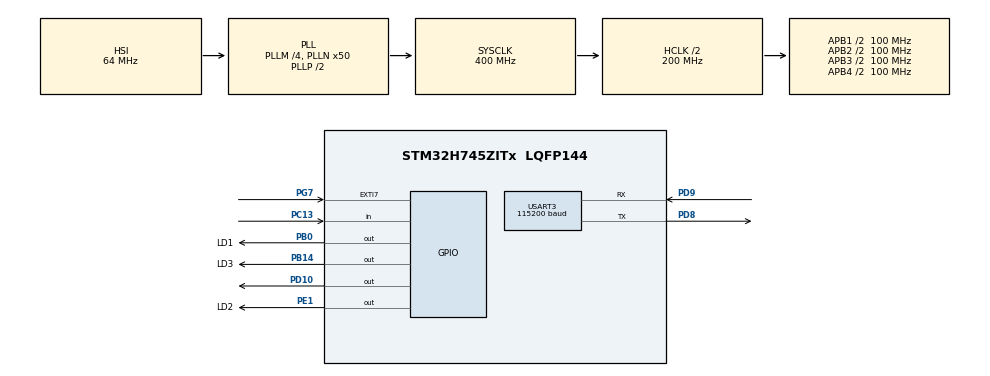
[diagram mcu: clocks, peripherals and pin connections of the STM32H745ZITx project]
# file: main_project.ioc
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PA11.GPIO_Speed=GPIO_SPEED_FREQ_LOW
PA8.GPIO_Mode=GPIO_MODE_AF_PP
PH0-OSC_IN\ (PH0).PinAttribute=CortexM7
PB14.GPIO_Label=LD3
RCC.PLLFRACN=0
PE1.PinState=GPIO_PIN_RESET
PD10.GPIO_PuPd=GPIO_NOPULL
PB13.Signal=ETH_TXD1
PG13.Signal=ETH_TXD0
RCC.SYSCLKSource=RCC_SYSCLKSOURCE_PLLCLK
PE1.GPIO_ModeDefaultOutputPP=GPIO_MODE_OUTPUT_PP
USART3.VirtualMode-Asynchronous=VM_ASYNC
PD8.GPIO_ModeDefaultPP=GPIO_MODE_AF_PP
PG13.GPIO_Mode=GPIO_MODE_AF_PP
PC13.GPIO_Mode=GPIO_MODE_INPUT
USART3.BaudRate=115200
PB13.GPIO_Mode=GPIO_MODE_AF_PP
PC4.GPIO_Mode=GPIO_MODE_AF_PP
PD8.Signal=USART3_TX
PE1.Signal=GPIO_Output
PA1.GPIO_PuPd=GPIO_NOPULL
RCC.DIVM3=4
PC1.GPIO_PuPd=GPIO_NOPULL
RCC.DIVM2=4
RCC.DIVM1=4
PD8.PinAttribute=CortexM7
VP_SYS_M4_VS_Systick.Mode=SysTick
PA8.Signal=USB_OTG_FS_SOF
CortexM7.Pins=PB0,PB14,PE1
PA7.PinAttribute=Free
Mcu.Package=LQFP144
PB14.GPIO_PuPd=GPIO_NOPULL
PC14-OSC32_IN\ (OSC32_IN).Mode=LSE-External-Oscillator
RCC.APB4Freq_Value=100000000
PB0.GPIO_ModeDefaultOutputPP=GPIO_MODE_OUTPUT_PP
PA12.GPIO_PuPd=GPIO_NOPULL
PD9.GPIO_PuPd=GPIO_NOPULL
PH0-OSC_IN\ (PH0).Mode=HSE-External-Clock-Source
PA8.GPIO_Speed=GPIO_SPEED_FREQ_LOW
RCC.SupplySource=PWR_DIRECT_SMPS_SUPPLY
PA2.GPIO_Mode=GPIO_MODE_AF_PP
PA1.PinAttribute=Free
PA1.GPIO_Mode=GPIO_MODE_AF_PP
PC13.Signal=GPIO_Input
USART3.AutoBaudRateEnableParam=UART_ADVFEATURE_AUTOBAUDRATE_DISABLE
PE1.GPIO_PuPd=GPIO_NOPULL
PD9.GPIO_ModeDefaultPP=GPIO_MODE_AF_PP
PA9.PinAttribute=CortexM7
PG13.PinAttribute=Free
PD10.Signal=GPIO_Output
PA12.PinAttribute=CortexM7
PA2.PinAttribute=Free
PB14.GPIO_Speed=GPIO_SPEED_FREQ_LOW
PA9.Signal=USB_OTG_FS_VBUS
RCC.DIVN3=10
RCC.DIVN2=20
RCC.DIVN1=50
PB13.GPIO_Speed=GPIO_SPEED_FREQ_LOW
PD8.Mode=Asynchronous
PB14.Signal=GPIO_Output
RCC.USBCLockSelection=RCC_USBCLKSOURCE_HSI48
PG11.PinAttribute=Free
PE1.GPIO_Label=LD2
PA7.GPIO_Speed=GPIO_SPEED_FREQ_LOW
USART3.WordLength=WORDLENGTH_8B
PB13.GPIO_PuPd=GPIO_NOPULL
PG11.GPIO_Mode=GPIO_MODE_AF_PP
PA11.PinAttribute=CortexM7
PC1.GPIO_Speed=GPIO_SPEED_FREQ_LOW
TIM2.Period=4294967295
PE1.PinAttribute=CortexM7
PA8.PinAttribute=CortexM7
PA11.Signal=USB_OTG_FS_DM
PC5.GPIO_Mode=GPIO_MODE_AF_PP
ProjectManager.HeapSize=0x200
PD9.PinAttribute=CortexM7
PD8.GPIO_Speed=GPIO_SPEED_FREQ_LOW
RCC.USART234578CLockSelection=RCC_USART234578CLKSOURCE_HSI
PC5.GPIO_Speed=GPIO_SPEED_FREQ_LOW
TIM2.AutoReloadPreload=TIM_AUTORELOAD_PRELOAD_DISABLE
PC1.PinAttribute=Free
PB0.Signal=GPIO_Output
PC1.Signal=ETH_MDC
Mcu.Family=STM32H7
PA2.GPIO_PuPd=GPIO_NOPULL
USART3.MSBFirstParam=ADVFEATURE_MSBFIRST_DISABLE
RCC.CortexFreq_Value=400000000
PG7.PinAttribute=Free
RCC.HPRE=RCC_HCLK_DIV2
PH0-OSC_IN\ (PH0).Signal=RCC_OSC_IN
PC15-OSC32_OUT\ (OSC32_OUT).Mode=LSE-External-Oscillator
PA7.GPIO_Mode=GPIO_MODE_AF_PP
PA2.GPIO_Speed=GPIO_SPEED_FREQ_LOW
PD9.GPIO_Speed=GPIO_SPEED_FREQ_LOW
USART3.ClockPrescaler=PRESCALER_DIV1
PB0.GPIO_Label=LD1
PA11.GPIO_PuPd=GPIO_NOPULL
PD8.GPIO_PuPd=GPIO_NOPULL
PD9.Mode=Asynchronous
PG11.Signal=ETH_TX_EN
ProjectManager.StackSize=0x400
PA12.Signal=USB_OTG_FS_DP
PB0.PinState=GPIO_PIN_RESET
PG11.GPIO_PuPd=GPIO_NOPULL
RCC.HCLKFreq_Value=200000000
RCC.FLatency=FLASH_LATENCY_2
PA9.GPIO_Mode=GPIO_MODE_INPUT
PC1.GPIO_Mode=GPIO_MODE_AF_PP
PB0.PinAttribute=CortexM7
RCC.HSE_VALUE=40000000
PG13.GPIO_PuPd=GPIO_NOPULL
PG7.GPIO_ModeDefaultEXTI=GPIO_MODE_IT_RISING
PG11.GPIO_Speed=GPIO_SPEED_FREQ_LOW
PC4.GPIO_Speed=GPIO_SPEED_FREQ_LOW
NVIC2.PriorityGroup=NVIC_PRIORITYGROUP_4
PC13.GPIO_PuPd=GPIO_NOPULL
PG7.GPIO_PuPd=GPIO_NOPULL
PD10.GPIO_Speed=GPIO_SPEED_FREQ_LOW
CortexM7.IPs=FATFS_M7\:I,FREERTOS_M7\:I,IWDG1\:I,RCC\:I,WWDG1\:I,DMA\:I,BDMA\:I,MDMA\:I,NVIC1\:I,SYS\:I,USART3\:I,CORTEX_M7\:I,DEBUG\:I,USB_DEVICE_M7\:I,USB_HOST_M7\:I,PDM2PCM_M7\:I,PWR\:I,RESMGR_UTILITY\:I,VREFBUF\:I,TIM2\:I,OPENAMP_M7\:I
PD10.PinAttribute=Free
RCC.APB3Freq_Value=100000000
RCC.D1PPRE=RCC_APB3_DIV2
PG13.GPIO_Speed=GPIO_SPEED_FREQ_LOW
PC5.Signal=ETH_RXD1
PD10.GPIO_ModeDefaultOutputPP=GPIO_MODE_OUTPUT_PP
PA12.GPIO_Speed=GPIO_SPEED_FREQ_LOW
PH1-OSC_OUT\ (PH1).PinAttribute=CortexM7
PB14.PinAttribute=CortexM7
CORTEX_M7.CPU_ICache=Enabled
PG7.Signal=GPXTI7
PC4.GPIO_PuPd=GPIO_NOPULL
PC4.Signal=ETH_RXD0
NVIC1.PriorityGroup=NVIC_PRIORITYGROUP_4
RCC.D2PPRE2=RCC_APB2_DIV2
RCC.D2PPRE1=RCC_APB1_DIV2
PD9.Signal=USART3_RX
PC5.GPIO_PuPd=GPIO_NOPULL
PA9.GPIO_PuPd=GPIO_NOPULL
PH1-OSC_OUT\ (PH1).Signal=RCC_OSC_OUT
PB13.PinAttribute=Free
PB0.GPIO_Speed=GPIO_SPEED_FREQ_LOW
PB14.PinState=GPIO_PIN_RESET
ProjectManager.TargetToolchain=STM32CubeIDE
PC15-OSC32_OUT\ (OSC32_OUT).Signal=RCC_OSC32_OUT
PC14-OSC32_IN\ (OSC32_IN).PinAttribute=CortexM7
PC4.PinAttribute=Free
RCC.USBFreq_Value=48000000
PB14.GPIO_ModeDefaultOutputPP=GPIO_MODE_OUTPUT_PP
PA1.Signal=ETH_REF_CLK
PA7.GPIO_PuPd=GPIO_NOPULL
NVIC1.USART3_IRQn=true\:0\:0\:false\:false\:true\:true\:true
board=NUCLEO-H745ZI-Q
PA12.GPIO_Mode=GPIO_MODE_AF_PP
RCC.APB2Freq_Value=100000000
VP_TIM2_VS_ClockSourceINT.Mode=Internal
PE1.GPIO_Speed=GPIO_SPEED_FREQ_LOW
PA1.GPIO_Speed=GPIO_SPEED_FREQ_LOW
RCC.ADCFreq_Value=160000000
Mcu.Name=STM32H745ZITx
PA2.Signal=ETH_MDIO
PC13.PinAttribute=Free
RCC.SYSCLKFreq_VALUE=400000000
PC14-OSC32_IN\ (OSC32_IN).Signal=RCC_OSC32_IN
PD10.PinState=GPIO_PIN_RESET
PA8.GPIO_PuPd=GPIO_NOPULL
PC15-OSC32_OUT\ (OSC32_OUT).PinAttribute=CortexM7
PC5.PinAttribute=Free
RCC.D3PPRE=RCC_APB4_DIV2
CORTEX_M7.CPU_DCache=Enabled
PA11.GPIO_Mode=GPIO_MODE_AF_PP
RCC.APB1Freq_Value=100000000
PB0.GPIO_PuPd=GPIO_NOPULL
PA7.Signal=ETH_CRS_DV
CortexM4.IPs=FATFS_M4\:I,FREERTOS_M4\:I,IWDG2\:I,RCC,WWDG2\:I,DMA,BDMA,MDMA,NVIC2\:I,DEBUG,USB_DEVICE_M4\:I,USB_HOST_M4\:I,PDM2PCM_M4\:I,PWR,RESMGR_UTILITY,SYS_M4\:I,CORTEX_M4\:I,VREFBUF,OPENAMP_M4\:I

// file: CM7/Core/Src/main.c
/* USER CODE BEGIN Header */
/**
 ******************************************************************************
 * @file           : main.c
 * @brief          : Main program body
 ******************************************************************************
 * @attention
 *
 * <h2><center>&copy; Copyright (c) 2020 STMicroelectronics.
 * All rights reserved.</center></h2>
 *
 * This software component is licensed by ST under BSD 3-Clause license,
 * the "License"; You may not use this file except in compliance with the
 * License. You may obtain a copy of the License at:
 *                        opensource.org/licenses/BSD-3-Clause
 *
 ******************************************************************************
 */
/* USER CODE END Header */
#include "main.h"
#include "tim.h"
#include "usart.h"
#include "gpio.h"

/* USER CODE BEGIN PD */
#define HSEM_ID_0 (0U) /* HW semaphore 0*/
#define FT_INPUT_VECTOR_SIZE 2048
#define RX_DATA_SIZE FT_INPUT_VECTOR_SIZE*2
#define NUMBER_OF_FEATURES 6
/* USER CODE END PD */

/* USER CODE BEGIN PV */
// Read-only variables go to FLASH memory
const uint32_t frameSize = FT_INPUT_VECTOR_SIZE;
const uint8_t txHead[4] = {0xCA, 0xCA, 0xCA, 0xCA};
const uint8_t txTail[4] = {0xF0, 0xF0, 0xF0, 0xF0};
q15_t layer_1_out_Buf[L1_OUT_DIM] = {0};
q15_t layer_2_out_Buf[L2_OUT_DIM] = {0};
q15_t layer_3_out_Buf[L3_OUT_DIM] = {0};
q15_t layer_4_out_Buf[L4_OUT_DIM] = {0};
q15_t layer_5_out_Buf[L5_OUT_DIM] = {0};
q15_t output_data[L5_OUT_DIM] = {0};
q15_t aq15_layer_1_weights[L1_IN_DIM*L1_OUT_DIM] = {0};
q15_t aq15_layer_1_biases[L1_OUT_DIM] = {0};
q15_t aq15_layer_2_weights[L2_IN_DIM*L2_OUT_DIM] = {0};
q15_t aq15_layer_2_biases[L2_OUT_DIM] = {0};
q15_t aq15_layer_3_weights[L3_IN_DIM*L3_OUT_DIM] = {0};
q15_t aq15_layer_3_biases[L3_OUT_DIM] = {0};
q15_t aq15_layer_4_weights[L4_IN_DIM*L4_OUT_DIM] = {0};
q15_t aq15_layer_4_biases[L4_OUT_DIM] = {0};
q15_t aq15_layer_5_weights[L5_IN_DIM*L5_OUT_DIM] = {0};
q15_t aq15_layer_5_biases[L5_OUT_DIM] = {0};
// Variables go to FLASH memory
union inst
{
	float32_t number[FT_INPUT_VECTOR_SIZE];
	uint8_t bytes[FT_INPUT_VECTOR_SIZE*4];
} instAbs = {0}, instPhase = {0}, instAbsPhase = {0}, instUnwrappedPhase = {0}, instFreq = {0}, instAbsFreq = {0}, instCNAbs = {0}, instAbsCNAbs = {0};
union rxData
{
	float32_t number[RX_DATA_SIZE];
	uint8_t bytes[RX_DATA_SIZE*4];
} rxBuffer = {0};
union rxWeightsAndBiases
{
	int16_t number[WEIGHTS + BIASES];
	uint8_t bytes[(WEIGHTS + BIASES) * 2];
} rxWandB = {0};
union rxStandardizer
{
	float32_t number[NUMBER_OF_FEATURES * 2];
	uint8_t bytes[NUMBER_OF_FEATURES * 2 * 4];
} rxScaler = {0};
union array_of_counter_numbers
{
	uint32_t number[5 + NUMBER_OF_FEATURES + 1];
	uint8_t bytes[4*(5 + NUMBER_OF_FEATURES + 1)];
} counter_array = {0};
union array_of_features
{
	float32_t number[NUMBER_OF_FEATURES];
	uint8_t bytes[NUMBER_OF_FEATURES * 4];
} ft_array = {0}, scaled_ft_array = {0};
union single_float
{
	float32_t number;
	uint8_t bytes[4];
} predicted = {0}, min_range = {0}, max_range = {0};
__IO ITStatus UartReady = RESET;
/* USER CODE END PV */

void SystemClock_Config(void);
/* USER CODE BEGIN PFP */
void clear_leds();
void light_leds();
void blink_red_fast();
void blink_red_slow();
void blink_orange_fast();
void blink_orange_slow();
void blink_green_fast();
void blink_green();
void blink_green_slow();
void transmit_prediction(uint8_t *value, uint8_t *counter);
void transmit_features(uint8_t *value, uint8_t *counter);
void transmit_array(uint8_t *array, uint16_t size, uint8_t *counter);
void transmit_echo_wandb(uint8_t *array, uint16_t size);
void transmit_echo_data(uint8_t *array, uint16_t size);
void preprocess_features(float32_t in[], float32_t out[]);
void quantize_features(float32_t in[], float32_t min_float_range, float32_t max_float_range, q15_t out[]);
/* USER CODE END PFP */

int main(void)
{
	/* USER CODE BEGIN 1 */
	/*****************************************************************************************************/
	q15_t q15_input_vector[NUMBER_OF_FEATURES] = {0};
	uint8_t ft_counter = 0;
	/*****************************************************************************************************/
	/* USER CODE END 1 */

	/* USER CODE BEGIN Boot_Mode_Sequence_0 */
	int32_t timeout;
	/* USER CODE END Boot_Mode_Sequence_0 */

	/* Enable I-Cache---------------------------------------------------------*/
	SCB_EnableICache();

	/* Enable D-Cache---------------------------------------------------------*/
	SCB_EnableDCache();

	/* USER CODE BEGIN Boot_Mode_Sequence_1 */
	/* Wait until CPU2 boots and enters in stop mode or timeout*/
	timeout = 0xFFFF;
	while((__HAL_RCC_GET_FLAG(RCC_FLAG_D2CKRDY) != RESET) && (timeout-- > 0));
	if ( timeout < 0 )
	{
		Error_Handler();
	}
	/* USER CODE END Boot_Mode_Sequence_1 */
	/* MCU Configuration--------------------------------------------------------*/

	/* Reset of all peripherals, Initializes the Flash interface and the Systick. */
	HAL_Init();

	/* Configure the system clock */
	SystemClock_Config();
	/* USER CODE BEGIN Boot_Mode_Sequence_2 */
	/* When system initialization is finished, Cortex-M7 will release Cortex-M4 by means of
HSEM notification */
	/*HW semaphore Clock enable*/
	__HAL_RCC_HSEM_CLK_ENABLE();
	/*Take HSEM */
	HAL_HSEM_FastTake(HSEM_ID_0);
	/*Release HSEM in order to notify the CPU2(CM4)*/
	HAL_HSEM_Release(HSEM_ID_0,0);
	/* wait until CPU2 wakes up from stop mode */
	timeout = 0xFFFF;
	while((__HAL_RCC_GET_FLAG(RCC_FLAG_D2CKRDY) == RESET) && (timeout-- > 0));
	if ( timeout < 0 )
	{
		Error_Handler();
	}
	/* USER CODE END Boot_Mode_Sequence_2 */

	/* Initialize all configured peripherals */
	MX_GPIO_Init();
	MX_USART3_UART_Init();
	MX_TIM2_Init();
	/* USER CODE BEGIN 2 */
	/*****************************************************************************************************/
	// HRTimer enable
	__HAL_TIM_ENABLE(&htim2);
	__HAL_TIM_UIFREMAP_DISABLE(&htim2);
	HAL_TIM_Base_Start(&htim2);
	__HAL_TIM_SET_COUNTER(&htim2, 0x0U);

	// Put UART peripheral in reception process
	if(HAL_UART_Receive_IT(&huart3, &rxWandB.bytes[0], (WEIGHTS + BIASES) * 2) != HAL_OK)
	{
		Error_Handler();
	}
	// Wait for message
	while (UartReady != SET)
	{
		HAL_Delay(500);
		blink_green();
		blink_green();
	}
	UartReady = RESET;
	HAL_GPIO_WritePin(GPIOB, LD1_Pin, GPIO_PIN_SET);
	if(rxWandB.bytes[(WEIGHTS + BIASES) * 2 - 1] != 0){ // Means: received everything
		HAL_GPIO_WritePin(GPIOB, LD3_Pin, GPIO_PIN_SET);
	}
	// Echo
	transmit_echo_wandb(&rxWandB.bytes[0], (WEIGHTS + BIASES) * 2);

	// Copying weights
	arm_copy_q15(&rxWandB.number[0], &aq15_layer_1_weights[0], L1_IN_DIM*L1_OUT_DIM);
	arm_copy_q15(&rxWandB.number[L1_IN_DIM*L1_OUT_DIM], &aq15_layer_2_weights[0], L2_IN_DIM*L2_OUT_DIM);
	arm_copy_q15(&rxWandB.number[L1_IN_DIM*L1_OUT_DIM + L2_IN_DIM*L2_OUT_DIM], &aq15_layer_3_weights[0], L3_IN_DIM*L3_OUT_DIM);
	arm_copy_q15(&rxWandB.number[L1_IN_DIM*L1_OUT_DIM + L2_IN_DIM*L2_OUT_DIM + L3_IN_DIM*L3_OUT_DIM], &aq15_layer_4_weights[0], L4_IN_DIM*L4_OUT_DIM);
	arm_copy_q15(&rxWandB.number[L1_IN_DIM*L1_OUT_DIM + L2_IN_DIM*L2_OUT_DIM + L3_IN_DIM*L3_OUT_DIM + L4_IN_DIM*L4_OUT_DIM], &aq15_layer_5_weights[0], L5_IN_DIM*L5_OUT_DIM);

	// Copying biases
	arm_copy_q15(&rxWandB.number[WEIGHTS], &aq15_layer_1_biases[0], L1_OUT_DIM);
	arm_copy_q15(&rxWandB.number[WEIGHTS + L1_OUT_DIM], &aq15_layer_2_biases[0], L2_OUT_DIM);
	arm_copy_q15(&rxWandB.number[WEIGHTS + L1_OUT_DIM + L2_OUT_DIM], &aq15_layer_3_biases[0], L3_OUT_DIM);
	arm_copy_q15(&rxWandB.number[WEIGHTS + L1_OUT_DIM + L2_OUT_DIM + L3_OUT_DIM], &aq15_layer_4_biases[0], L4_OUT_DIM);
	arm_copy_q15(&rxWandB.number[WEIGHTS + L1_OUT_DIM + L2_OUT_DIM + L3_OUT_DIM + L4_OUT_DIM], &aq15_layer_5_biases[0], L5_OUT_DIM);

	// Put UART peripheral in reception process
	if(HAL_UART_Receive_IT(&huart3, &rxScaler.bytes[0], NUMBER_OF_FEATURES * 2 * 4) != HAL_OK)
	{
		Error_Handler();
	}
	// Wait for message
	while (UartReady != SET)
	{
		HAL_Delay(500);
		blink_green();
		blink_green();
	}
	UartReady = RESET;
	HAL_GPIO_WritePin(GPIOB, LD1_Pin, GPIO_PIN_SET);
	if(rxScaler.bytes[NUMBER_OF_FEATURES * 2 * 4 - 1] != 0){ // Means: received everything
		HAL_GPIO_WritePin(GPIOB, LD3_Pin, GPIO_PIN_SET);
	}
	// Echo
	transmit_echo_data(&rxScaler.bytes[0], NUMBER_OF_FEATURES * 2 * 4);

	/*****************************************************************************************************/
	/* USER CODE END 2 */

	/* Infinite loop */
	/* USER CODE BEGIN WHILE */
	/*****************************************************************************************************/
	while (1)
	{
		// Put UART peripheral in reception process
		if(HAL_UART_Receive_IT(&huart3, &rxBuffer.bytes[0], RX_DATA_SIZE*4) != HAL_OK)
		{
			Error_Handler();
		}
		// Wait for message
		while (UartReady != SET)
		{
			HAL_Delay(500);
			blink_green();
			blink_green();
		}
		UartReady = RESET;
		HAL_Delay(100);
		HAL_GPIO_WritePin(GPIOB, LD1_Pin, GPIO_PIN_SET);
		if(rxBuffer.bytes[8191] != 0){ // Means: received everything
			HAL_GPIO_WritePin(GPIOE, LD2_Pin, GPIO_PIN_SET);
		}

		/*
		// Echo
		transmit_echo_data(&rxBuffer.bytes[0], RX_DATA_SIZE*4);
		*/

		// Instantaneous absolute value
		__HAL_TIM_SET_COUNTER(&htim2, 0x0U);
		complex_inst_absolute(&rxBuffer.number[0], &instAbs.number[0]);
		counter_array.number[0] = __HAL_TIM_GET_COUNTER(&htim2);
		// Instantaneous phase value
		__HAL_TIM_SET_COUNTER(&htim2, 0x0U);
		inst_phase(&rxBuffer.number[0], &instPhase.number[0]);
		counter_array.number[1] = __HAL_TIM_GET_COUNTER(&htim2);
		// Instantaneous unwrapped phase value
		__HAL_TIM_SET_COUNTER(&htim2, 0x0U);
		inst_phase(&rxBuffer.number[0], &instPhase.number[0]);
		unwrap(&instPhase.number[0], &instUnwrappedPhase.number[0]);
		counter_array.number[2] = __HAL_TIM_GET_COUNTER(&htim2);
		// Instantaneous frequency value
		__HAL_TIM_SET_COUNTER(&htim2, 0x0U);
		inst_frequency(&rxBuffer.number[0], &instFreq.number[0]);
		counter_array.number[3] = __HAL_TIM_GET_COUNTER(&htim2);
		// Instantaneous centered normalized absolute value
		__HAL_TIM_SET_COUNTER(&htim2, 0x0U);
		inst_centralized_normalized_absolute(&rxBuffer.number[0], &instCNAbs.number[0]);
		counter_array.number[4] = __HAL_TIM_GET_COUNTER(&htim2);

		/*
		transmit_array(&instAbs.bytes[0], FT_INPUT_VECTOR_SIZE*4, &counter_array.bytes[0]);
		transmit_array(&instPhase.bytes[0], FT_INPUT_VECTOR_SIZE*4, &counter_array.bytes[4]);
		transmit_array(&instUnwrappedPhase.bytes[0], FT_INPUT_VECTOR_SIZE*4, &counter_array.bytes[8]);
		transmit_array(&instFreq.bytes[0], FT_INPUT_VECTOR_SIZE*4, &counter_array.bytes[12]);
		transmit_array(&instCNAbs.bytes[0], FT_INPUT_VECTOR_SIZE*4, &counter_array.bytes[16]);
		*/

		/*****************************************************************************************************/
		ft_counter = 0;
		/*
		// 1 - Gmax
		__HAL_TIM_SET_COUNTER(&htim2, 0x0U);
		gmax(&rxBuffer.number[0], &ft_array.number[ft_counter]);
		counter_array.number[ft_counter + 5] = __HAL_TIM_GET_COUNTER(&htim2);
		ft_counter++;
		*/

		// 2 - Std of the Absolute Instantaneous Phase
		__HAL_TIM_SET_COUNTER(&htim2, 0x0U);
		inst_absolute(&instPhase.number[0], &instAbsPhase.number[0]);
		std_dev(&instAbsPhase.number[0], &ft_array.number[ft_counter]);
		counter_array.number[ft_counter + 5] = __HAL_TIM_GET_COUNTER(&htim2);
		ft_counter++;

		/*
		// 3 - Std of the Direct Instantaneous Phase
		__HAL_TIM_SET_COUNTER(&htim2, 0x0U);
		std_dev(&instPhase.number[0], &ft_array.number[ft_counter]);
		counter_array.number[ft_counter + 5] = __HAL_TIM_GET_COUNTER(&htim2);
		ft_counter++;
		*/

		// 4 - Std of the CN Instantaneous Amplitude
		__HAL_TIM_SET_COUNTER(&htim2, 0x0U);
		inst_absolute(&instCNAbs.number[0], &instAbsCNAbs.number[0]);
		std_dev(&instAbsCNAbs.number[0], &ft_array.number[ft_counter]);
		counter_array.number[ft_counter + 5] = __HAL_TIM_GET_COUNTER(&htim2);
		ft_counter++;

		/*
		// 5 - Std of the Instantaneous Frequency
		__HAL_TIM_SET_COUNTER(&htim2, 0x0U);
		std_dev(&instFreq.number[0], &ft_array.number[ft_counter]);
		counter_array.number[ft_counter + 5] = __HAL_TIM_GET_COUNTER(&htim2);
		ft_counter++;
		*/

		// 6 - Mean Value of the Signal Magnitude
		__HAL_TIM_SET_COUNTER(&htim2, 0x0U);
		mean_of_signal_magnitude(&instAbs.number[0], &ft_array.number[ft_counter]);
		counter_array.number[ft_counter + 5] = __HAL_TIM_GET_COUNTER(&htim2);
		ft_counter++;

		/*
		// 7 - Normalized square root value of sum of amplitude of signal samples
		__HAL_TIM_SET_COUNTER(&htim2, 0x0U);
		normalized_sqrt_of_sum_of_amp(&instAbs.number[0], &ft_array.number[ft_counter]);
		counter_array.number[ft_counter + 5] = __HAL_TIM_GET_COUNTER(&htim2);
		ft_counter++;
		*/

		// 8 - Kurtosis of the CN Amplitude
		__HAL_TIM_SET_COUNTER(&htim2, 0x0U);
		kurtosis(&instCNAbs.number[0], &ft_array.number[ft_counter], frameSize);
		counter_array.number[ft_counter + 5] = __HAL_TIM_GET_COUNTER(&htim2);
		ft_counter++;

		/*
		// 9 - Kurtosis of the CN Frequency
		__HAL_TIM_SET_COUNTER(&htim2, 0x0U);
		kurtosis(&instFreq.number[0], &ft_array.number[ft_counter], frameSize);
		counter_array.number[ft_counter + 5] = __HAL_TIM_GET_COUNTER(&htim2);
		ft_counter++;
		*/

		/*
		// Standard deviation of the absolute centralized normalized absolute amplitude
		__HAL_TIM_SET_COUNTER(&htim2, 0x0U);
		inst_absolute(&instCNAbs.number[0], &instAbsCNAbs.number[0]);
		std_dev(&instAbsCNAbs.number[0], &ft_array.number[ft_counter]);
		counter_array.number[ft_counter + 5] = __HAL_TIM_GET_COUNTER(&htim2);
		ft_counter++;
		// Squared Mean of the Signal Magnitude
		__HAL_TIM_SET_COUNTER(&htim2, 0x0U);
		squared_mean_of_signal_magnitude(&instAbs.number[0], &ft_array.number[ft_counter]);
		counter_array.number[ft_counter + 5] = __HAL_TIM_GET_COUNTER(&htim2);
		ft_counter++;
		// Ratio of I/Q Components
		__HAL_TIM_SET_COUNTER(&htim2, 0x0U);
		ratio_iq(&rxBuffer.number[0], &ft_array.number[ft_counter]);
		counter_array.number[ft_counter + 5] = __HAL_TIM_GET_COUNTER(&htim2);
		ft_counter++;
		*/

		/*
		// 10 - Cumulant 20
		__HAL_TIM_SET_COUNTER(&htim2, 0x0U);
		cumulant_20(&rxBuffer.number[0], &ft_array.number[ft_counter]);
		counter_array.number[ft_counter + 5] = __HAL_TIM_GET_COUNTER(&htim2);
		ft_counter++;

		// 11 - Cumulant 21
		__HAL_TIM_SET_COUNTER(&htim2, 0x0U);
		cumulant_21(&rxBuffer.number[0], &ft_array.number[ft_counter]);
		counter_array.number[ft_counter + 5] = __HAL_TIM_GET_COUNTER(&htim2);
		ft_counter++;
		*/

		// 12 - Cumulant 40
		__HAL_TIM_SET_COUNTER(&htim2, 0x0U);
		cumulant_40(&rxBuffer.number[0], &ft_array.number[ft_counter]);
		counter_array.number[ft_counter + 5] = __HAL_TIM_GET_COUNTER(&htim2);
		ft_counter++;

		/*
		// 13 - Cumulant 41
		__HAL_TIM_SET_COUNTER(&htim2, 0x0U);
		cumulant_41(&rxBuffer.number[0], &ft_array.number[ft_counter]);
		counter_array.number[ft_counter + 5] = __HAL_TIM_GET_COUNTER(&htim2);
		ft_counter++;
		*/

		// 14 - Cumulant 42
		__HAL_TIM_SET_COUNTER(&htim2, 0x0U);
		cumulant_42(&rxBuffer.number[0], &ft_array.number[ft_counter]);
		counter_array.number[ft_counter + 5] = __HAL_TIM_GET_COUNTER(&htim2);
		ft_counter++;

		/*
		// 15 - Cumulant 60
		__HAL_TIM_SET_COUNTER(&htim2, 0x0U);
		cumulant_60(&rxBuffer.number[0], &ft_array.number[ft_counter]);
		counter_array.number[ft_counter + 5] = __HAL_TIM_GET_COUNTER(&htim2);
		ft_counter++;

		// 16 - Cumulant 61
		__HAL_TIM_SET_COUNTER(&htim2, 0x0U);
		cumulant_61(&rxBuffer.number[0], &ft_array.number[ft_counter]);
		counter_array.number[ft_counter + 5] = __HAL_TIM_GET_COUNTER(&htim2);
		ft_counter++;

		// 17 - Cumulant 62
		__HAL_TIM_SET_COUNTER(&htim2, 0x0U);
		cumulant_62(&rxBuffer.number[0], &ft_array.number[ft_counter]);
		counter_array.number[ft_counter + 5] = __HAL_TIM_GET_COUNTER(&htim2);
		ft_counter++;

		// 18 - Cumulant 63
		__HAL_TIM_SET_COUNTER(&htim2, 0x0U);
		cumulant_63(&rxBuffer.number[0], &ft_array.number[ft_counter]);
		counter_array.number[ft_counter + 5] = __HAL_TIM_GET_COUNTER(&htim2);
		ft_counter++;
		*/

		transmit_features(&ft_array.bytes[0], &counter_array.bytes[4 * 5]);

		// Scale features (mean and var)
		preprocess_features(&ft_array.number[0], &scaled_ft_array.number[0]);

		// Q4.11
		//min_range.number = -8.0f;
		//max_range.number = 7.9995117f;

		// Q3.12
		min_range.number = -4.0f;
		max_range.number = 3.9997559f;

		// Q2.13
		//min_range.number = -2.0f;
		//max_range.number = 1.9998779f;

		// Evaluate neural network
		__HAL_TIM_SET_COUNTER(&htim2, 0x0U);
		quantize_features(&scaled_ft_array.number[0], min_range.number, max_range.number, &q15_input_vector[0]);
		fully_connected_run(&q15_input_vector[0], &predicted.number);
		counter_array.number[ft_counter + 5] = __HAL_TIM_GET_COUNTER(&htim2);
		transmit_prediction(&predicted.bytes[0], &counter_array.bytes[4*(ft_counter + 5)]);
		/*************************************************************************************************/
		/* USER CODE END WHILE */

	}
}

void SystemClock_Config(void)
{
	RCC_OscInitTypeDef RCC_OscInitStruct = {0};
	RCC_ClkInitTypeDef RCC_ClkInitStruct = {0};
	RCC_PeriphCLKInitTypeDef PeriphClkInitStruct = {0};

	/** Supply configuration update enable
	 */
	HAL_PWREx_ConfigSupply(PWR_DIRECT_SMPS_SUPPLY);
	/** Configure the main internal regulator output voltage
	 */
	__HAL_PWR_VOLTAGESCALING_CONFIG(PWR_REGULATOR_VOLTAGE_SCALE1);

	while(!__HAL_PWR_GET_FLAG(PWR_FLAG_VOSRDY)) {}
	/** Initializes the RCC Oscillators according to the specified parameters
	 * in the RCC_OscInitTypeDef structure.
	 */
	RCC_OscInitStruct.OscillatorType = RCC_OSCILLATORTYPE_HSI;
	RCC_OscInitStruct.HSIState = RCC_HSI_DIV1;
	RCC_OscInitStruct.HSICalibrationValue = RCC_HSICALIBRATION_DEFAULT;
	RCC_OscInitStruct.PLL.PLLState = RCC_PLL_ON;
	RCC_OscInitStruct.PLL.PLLSource = RCC_PLLSOURCE_HSI;
	RCC_OscInitStruct.PLL.PLLM = 4;
	RCC_OscInitStruct.PLL.PLLN = 50;
	RCC_OscInitStruct.PLL.PLLP = 2;
	RCC_OscInitStruct.PLL.PLLQ = 2;
	RCC_OscInitStruct.PLL.PLLR = 2;
	RCC_OscInitStruct.PLL.PLLRGE = RCC_PLL1VCIRANGE_3;
	RCC_OscInitStruct.PLL.PLLVCOSEL = RCC_PLL1VCOWIDE;
	RCC_OscInitStruct.PLL.PLLFRACN = 0;
	if (HAL_RCC_OscConfig(&RCC_OscInitStruct) != HAL_OK)
	{
		Error_Handler();
	}
	/** Initializes the CPU, AHB and APB buses clocks
	 */
	RCC_ClkInitStruct.ClockType = RCC_CLOCKTYPE_HCLK|RCC_CLOCKTYPE_SYSCLK
			|RCC_CLOCKTYPE_PCLK1|RCC_CLOCKTYPE_PCLK2
			|RCC_CLOCKTYPE_D3PCLK1|RCC_CLOCKTYPE_D1PCLK1;
	RCC_ClkInitStruct.SYSCLKSource = RCC_SYSCLKSOURCE_PLLCLK;
	RCC_ClkInitStruct.SYSCLKDivider = RCC_SYSCLK_DIV1;
	RCC_ClkInitStruct.AHBCLKDivider = RCC_HCLK_DIV2;
	RCC_ClkInitStruct.APB3CLKDivider = RCC_APB3_DIV2;
	RCC_ClkInitStruct.APB1CLKDivider = RCC_APB1_DIV2;
	RCC_ClkInitStruct.APB2CLKDivider = RCC_APB2_DIV2;
	RCC_ClkInitStruct.APB4CLKDivider = RCC_APB4_DIV2;

	if (HAL_RCC_ClockConfig(&RCC_ClkInitStruct, FLASH_LATENCY_2) != HAL_OK)
	{
		Error_Handler();
	}
	PeriphClkInitStruct.PeriphClockSelection = RCC_PERIPHCLK_USART3;
	PeriphClkInitStruct.Usart234578ClockSelection = RCC_USART234578CLKSOURCE_HSI;
	if (HAL_RCCEx_PeriphCLKConfig(&PeriphClkInitStruct) != HAL_OK)
	{
		Error_Handler();
	}
}

/* USER CODE BEGIN 4 */
void clear_leds(){
	HAL_GPIO_WritePin(GPIOB, LD1_Pin, GPIO_PIN_RESET);
	HAL_GPIO_WritePin(GPIOE, LD2_Pin, GPIO_PIN_RESET);
	HAL_GPIO_WritePin(GPIOB, LD3_Pin, GPIO_PIN_RESET);
}
void light_leds(){
	HAL_GPIO_WritePin(GPIOB, LD1_Pin, GPIO_PIN_SET);
	HAL_GPIO_WritePin(GPIOE, LD2_Pin, GPIO_PIN_SET);
	HAL_GPIO_WritePin(GPIOB, LD3_Pin, GPIO_PIN_SET);
}
void blink_red_fast(){
	HAL_GPIO_WritePin(GPIOB, LD3_Pin, GPIO_PIN_RESET);
	HAL_Delay(50);
	HAL_GPIO_WritePin(GPIOB, LD3_Pin, GPIO_PIN_SET);
	HAL_Delay(50);
}
void blink_red_slow(){
	HAL_GPIO_WritePin(GPIOB, LD3_Pin, GPIO_PIN_RESET);
	HAL_Delay(500);
	HAL_GPIO_WritePin(GPIOB, LD3_Pin, GPIO_PIN_SET);
	HAL_Delay(500);
}
void blink_orange_fast(){
	HAL_GPIO_WritePin(GPIOE, LD2_Pin, GPIO_PIN_RESET);
	HAL_Delay(50);
	HAL_GPIO_WritePin(GPIOE, LD2_Pin, GPIO_PIN_SET);
	HAL_Delay(50);
}
void blink_orange_slow(){
	HAL_GPIO_WritePin(GPIOE, LD2_Pin, GPIO_PIN_RESET);
	HAL_Delay(500);
	HAL_GPIO_WritePin(GPIOE, LD2_Pin, GPIO_PIN_SET);
	HAL_Delay(500);
}
void blink_green_fast(){
	HAL_GPIO_WritePin(GPIOB, LD1_Pin, GPIO_PIN_RESET);
	HAL_Delay(50);
	HAL_GPIO_WritePin(GPIOB, LD1_Pin, GPIO_PIN_SET);
	HAL_Delay(50);
}
void blink_green(){
	HAL_GPIO_WritePin(GPIOB, LD1_Pin, GPIO_PIN_RESET);
	HAL_Delay(200);
	HAL_GPIO_WritePin(GPIOB, LD1_Pin, GPIO_PIN_SET);
	HAL_Delay(200);
}
void blink_green_slow(){
	HAL_GPIO_WritePin(GPIOB, LD1_Pin, GPIO_PIN_RESET);
	HAL_Delay(500);
	HAL_GPIO_WritePin(GPIOB, LD1_Pin, GPIO_PIN_SET);
	HAL_Delay(500);
}
void transmit_prediction(uint8_t *value, uint8_t *counter){
	if(UART_CheckIdleState(&huart3) == HAL_OK){
		HAL_UART_Transmit_IT(&huart3, (uint8_t*) &txHead[0], 4);
		while(UartReady != SET){
			blink_red_fast();
		}
		UartReady = RESET;
		HAL_UART_Transmit_IT(&huart3, (uint8_t*) &value[0], 4);
		while(UartReady != SET){
			blink_red_fast();
		}
		UartReady = RESET;
		HAL_UART_Transmit_IT(&huart3, (uint8_t*) &counter[0], 4);
		while(UartReady != SET){
			blink_red_fast();
		}
		UartReady = RESET;
		HAL_UART_Transmit_IT(&huart3, (uint8_t*) &txTail[0], 4);
		while(UartReady != SET){
			blink_red_fast();
		}
		UartReady = RESET;
	}
	blink_orange_slow();
	clear_leds();
}
void transmit_features(uint8_t *value, uint8_t *counter){
	if(UART_CheckIdleState(&huart3) == HAL_OK){
		HAL_UART_Transmit_IT(&huart3, (uint8_t*) &txHead[0], 4);
		while(UartReady != SET){
			blink_red_fast();
		}
		UartReady = RESET;
		HAL_UART_Transmit_IT(&huart3, (uint8_t*) &value[0], 4 * NUMBER_OF_FEATURES);
		while(UartReady != SET){
			blink_red_fast();
		}
		UartReady = RESET;
		HAL_UART_Transmit_IT(&huart3, (uint8_t*) &counter[0], 4 * NUMBER_OF_FEATURES);
		while(UartReady != SET){
			blink_red_fast();
		}
		UartReady = RESET;
		HAL_UART_Transmit_IT(&huart3, (uint8_t*) &txTail[0], 4);
		while(UartReady != SET){
			blink_red_fast();
		}
		UartReady = RESET;
	}
	blink_orange_slow();
	clear_leds();
}
void transmit_array(uint8_t *array, uint16_t size, uint8_t *counter){
	if(UART_CheckIdleState(&huart3) == HAL_OK){
		HAL_UART_Transmit_IT(&huart3, (uint8_t*) &txHead[0], 4);
		while(UartReady != SET){
			blink_red_fast();
		}
		UartReady = RESET;
		HAL_UART_Transmit_IT(&huart3, (uint8_t*) &array[0], size);
		while(UartReady != SET){
			blink_red_fast();
		}
		UartReady = RESET;
		HAL_UART_Transmit_IT(&huart3, (uint8_t*) &counter[0], 4);
		while(UartReady != SET){
			blink_red_fast();
		}
		UartReady = RESET;
		HAL_UART_Transmit_IT(&huart3, (uint8_t*) &txTail[0], 4);
		while(UartReady != SET){
			blink_red_fast();
		}
		UartReady = RESET;
	}
	blink_orange_slow();
	clear_leds();
}
void transmit_echo_wandb(uint8_t *array, uint16_t size){
	if(UART_CheckIdleState(&huart3) == HAL_OK){
		HAL_UART_Transmit_IT(&huart3, (uint8_t*) &txHead[0], 2);
		while(UartReady != SET){
			blink_red_fast();
		}
		UartReady = RESET;
		HAL_UART_Transmit_IT(&huart3, (uint8_t*) &array[0], size);
		while(UartReady != SET){
			blink_red_fast();
		}
		UartReady = RESET;
		HAL_UART_Transmit_IT(&huart3, (uint8_t*) &txTail[0], 2);
		while(UartReady != SET){
			blink_red_fast();
		}
		UartReady = RESET;
	}
	blink_orange_slow();
	clear_leds();
}
void transmit_echo_data(uint8_t *array, uint16_t size){
	if(UART_CheckIdleState(&huart3) == HAL_OK){
		HAL_UART_Transmit_IT(&huart3, (uint8_t*) &txHead[0], 4);
		while(UartReady != SET){
			blink_red_fast();
		}
		UartReady = RESET;
		HAL_UART_Transmit_IT(&huart3, (uint8_t*) &array[0], size);
		while(UartReady != SET){
			blink_red_fast();
		}
		UartReady = RESET;
		HAL_UART_Transmit_IT(&huart3, (uint8_t*) &txTail[0], 4);
		while(UartReady != SET){
			blink_red_fast();
		}
		UartReady = RESET;
	}
	blink_orange_slow();
	clear_leds();
}
void preprocess_features(float32_t in[], float32_t out[]){
	for(uint8_t i = 0; i < NUMBER_OF_FEATURES; i++){
		out[i] = (in[i] - rxScaler.number[i]) / rxScaler.number[i + NUMBER_OF_FEATURES];
	}
}
void quantize_features(float32_t in[], float32_t min_float_range, float32_t max_float_range, q15_t out[]){
	const int16_t min_int16_t = SHRT_MIN;
	const int16_t max_int16_t = SHRT_MAX;
	const float32_t max_float = FLT_MAX;

	float32_t scale_factor_from_min_side = 0.0f;
	float32_t scale_factor_from_max_side = 0.0f;
	float32_t scale_factor = 0.0f;

	scale_factor_from_min_side = (min_int16_t * min_float_range > 0) ? min_int16_t / min_float_range : max_float;
	scale_factor_from_max_side = (max_int16_t * max_float_range > 0) ? max_int16_t / max_float_range : max_float;
	scale_factor = fminf(scale_factor_from_min_side, scale_factor_from_max_side);

	min_float_range = min_int16_t / scale_factor;
	max_float_range = max_int16_t / scale_factor;

	for(uint8_t i = 0; i < NUMBER_OF_FEATURES; i++){
		out[i] = (int16_t) roundf(fminf(max_float_range, fmaxf(min_float_range, in[i])) * scale_factor);
	}
}
void HAL_UART_TxCpltCallback(UART_HandleTypeDef *huart3){
	/* Set transmission flag: transfer complete */
	UartReady = SET;
}
void HAL_UART_RxCpltCallback(UART_HandleTypeDef *huart3){
	/* Set transmission flag: transfer complete */
	UartReady = SET;
}
/* USER CODE END 4 */

void Error_Handler(void)
{
}

/************************ (C) COPYRIGHT STMicroelectronics *****END OF FILE****/
